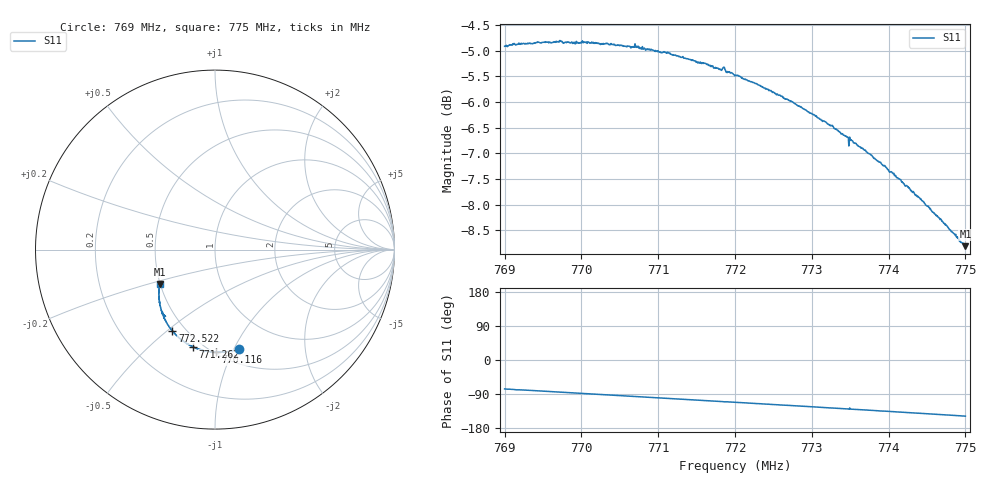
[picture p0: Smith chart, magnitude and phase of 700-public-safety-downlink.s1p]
! Calibrated averaged scanner-service zoom
# Hz S RI R 50
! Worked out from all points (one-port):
!   1001 points, 769 MHz to 775 MHz, reference 50 ohm
!   lowest |S11| = -8.8 dB at 775 MHz (marker M1), VSWR 2.14, Z = 24.8 - j11 ohm
!   |S11| at or under -10 dB: nowhere
!   S11 on the Smith chart (normalised r, x): 769 MHz: 0.64, -1.05; 770.116 MHz: 0.51, -0.87; 771.262 MHz: 0.45, -0.70; 772.522 MHz: 0.43, -0.52; 775 MHz: 0.50, -0.22
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7.69e8  0.1345 -0.5516
7.6909e8  0.1237 -0.5559
7.69156e8  0.1118 -0.5592
7.69264e8  0.1052 -0.5609
7.6942e8  0.0861 -0.5665
7.6975e8  0.0488 -0.5719
7.70116e8  0.00623 -0.5718
7.705e8  -0.0373 -0.5674
7.70728e8  -0.0649 -0.5634
7.71106e8  -0.1052 -0.5501
7.7125e8  -0.1214 -0.5424
7.71262e8  -0.1229 -0.5414
7.71616e8  -0.1587 -0.5229
7.71796e8  -0.1751 -0.51
7.7185e8  -0.1884 -0.5079
7.7191e8  -0.1887 -0.5018
7.72e8  -0.1954 -0.4942
7.72222e8  -0.2148 -0.478
7.72522e8  -0.2373 -0.4522
7.7275e8  -0.255 -0.4318
7.73212e8  -0.2812 -0.3854
7.73458e8  -0.2927 -0.3597
7.73464e8  -0.2925 -0.3593
7.735e8  -0.2936 -0.3558
7.73884e8  -0.3067 -0.3127
7.7425e8  -0.3116 -0.2731
7.747e8  -0.3119 -0.2234
7.75e8  -0.308 -0.1919
